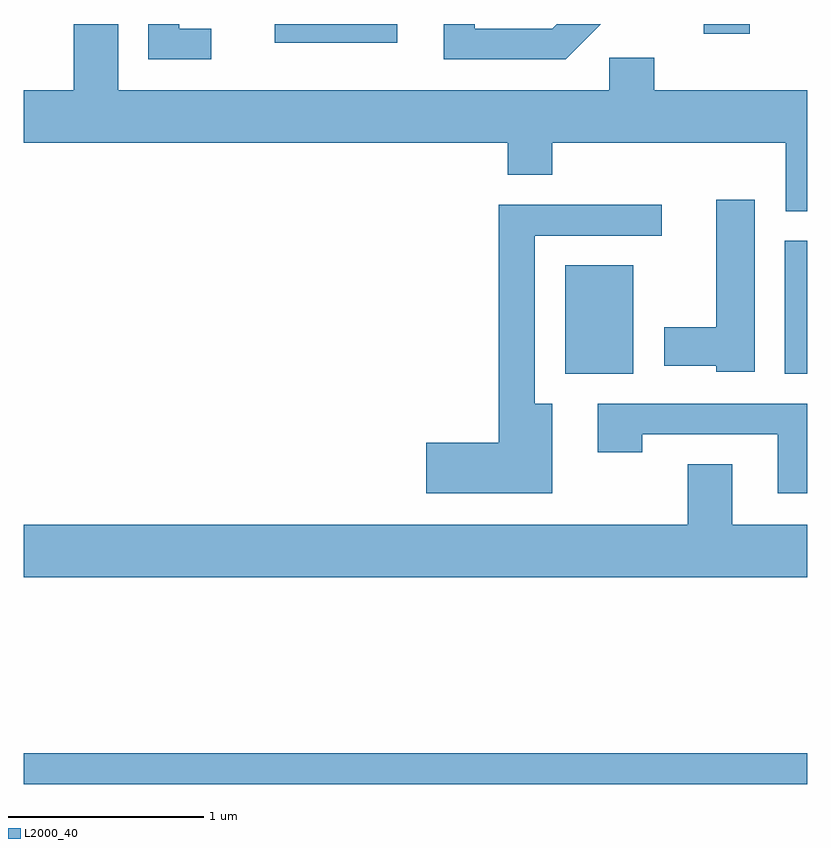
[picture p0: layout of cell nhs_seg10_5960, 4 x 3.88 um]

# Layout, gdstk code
import gdstk
lib = gdstk.Library(unit=1e-6, precision=1e-09)
def R(c, l, rs):  # rectangles x0, y0, x1, y1
    for r in rs: c.add(gdstk.rectangle(r[:2], r[2:], *l))
def P(c, l, *ps):  # polygons
    for p in ps: c.add(gdstk.Polygon(p, *l))
L2000_40 = (2000, 40)

nhs_seg10_5960 = lib.new_cell('nhs_seg10_5960')
R(nhs_seg10_5960, L2000_40, [(361.611,2110.641,365.611,2110.799), (364.376,2112.736,364.724,2113.289), (365.496,2112.736,365.611,2113.414), (362.891,2114.426,363.519,2114.522), (365.083,2114.471,365.319,2114.522)])
P(nhs_seg10_5960, L2000_40, [(365.611,2114.184),(364.829,2114.184),(364.829,2114.349),(364.601,2114.349),(364.601,2114.184),(362.094,2114.184),(362.094,2114.522),(361.866,2114.522),(361.866,2114.184),(361.611,2114.184),(361.611,2113.916),(364.081,2113.916),(364.081,2113.751),(364.309,2113.751),(364.309,2113.916),(365.501,2113.916),(365.501,2113.566),(365.611,2113.566)],
  [(364.558,2114.522),(364.332,2114.522),(364.309,2114.499),(363.914,2114.499),(363.914,2114.522),(363.756,2114.522),(363.756,2114.341),(364.377,2114.341)],
  [(362.568,2114.499),(362.404,2114.499),(362.404,2114.522),(362.246,2114.522),(362.246,2114.341),(362.568,2114.341)],
  [(365.344,2113.624),(365.146,2113.624),(365.146,2112.974),(364.881,2112.974),(364.881,2112.776),(365.146,2112.776),(365.146,2112.746),(365.344,2112.746)],
  [(364.309,2112.584),(364.219,2112.584),(364.219,2113.441),(364.868,2113.441),(364.868,2113.599),(364.036,2113.599),(364.036,2112.384),(363.666,2112.384),(363.666,2112.126),(364.309,2112.126)],
  [(365.611,2112.584),(364.541,2112.584),(364.541,2112.336),(364.769,2112.336),(364.769,2112.426),(365.461,2112.426),(365.461,2112.126),(365.611,2112.126)],
  [(365.611,2111.964),(365.229,2111.964),(365.229,2112.274),(365.001,2112.274),(365.001,2111.964),(361.611,2111.964),(361.611,2111.696),(365.611,2111.696)])

lib.write_gds('nhs_seg10_5960.gds')
